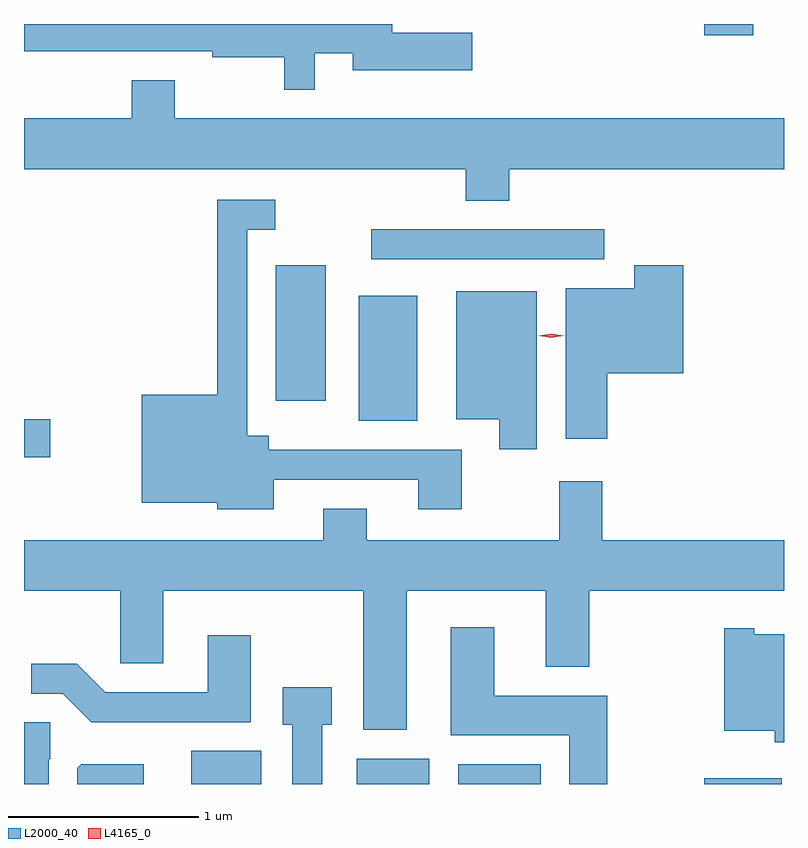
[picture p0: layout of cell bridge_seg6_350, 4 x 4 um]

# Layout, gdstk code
import gdstk
lib = gdstk.Library(unit=1e-6, precision=1e-09)
def R(c, l, rs):  # rectangles x0, y0, x1, y1
    for r in rs: c.add(gdstk.rectangle(r[:2], r[2:], *l))
def P(c, l, *ps):  # polygons
    for p in ps: c.add(gdstk.Polygon(p, *l))
L2000_40 = (2000, 40)
L4165_0 = (4165, 0)

bridge_seg6_350 = lib.new_cell('bridge_seg6_350')
R(bridge_seg6_350, L2000_40, [(1376.586,1562.34,1376.954,1562.514), (1377.456,1562.34,1377.839,1562.474), (1377.991,1562.34,1378.424,1562.444), (1379.286,1562.34,1379.694,1562.369), (1375.705,1564.061,1375.844,1564.259), (1377.466,1564.251,1377.774,1564.909), (1377.031,1564.356,1377.294,1565.069), (1377.533,1565.101,1378.758,1565.259), (1379.286,1566.281,1379.544,1566.34)])
P(bridge_seg6_350, L2000_40, [(1377.234,1566.186),(1377.436,1566.186),(1377.436,1566.096),(1378.064,1566.096),(1378.064,1566.294),(1377.644,1566.294),(1377.644,1566.34),(1375.705,1566.34),(1375.705,1566.196),(1376.696,1566.196),(1376.696,1566.166),(1377.076,1566.166),(1377.076,1565.993),(1377.234,1565.993)],
  [(1376.271,1566.044),(1376.271,1565.844),(1375.705,1565.844),(1375.705,1565.576),(1378.031,1565.576),(1378.031,1565.411),(1378.259,1565.411),(1378.259,1565.576),(1379.705,1565.576),(1379.705,1565.844),(1376.499,1565.844),(1376.499,1566.044)],
  [(1377.019,1563.941),(1377.781,1563.941),(1377.781,1563.786),(1378.009,1563.786),(1378.009,1564.099),(1376.994,1564.099),(1376.994,1564.174),(1376.879,1564.174),(1376.879,1565.256),(1377.028,1565.256),(1377.028,1565.414),(1376.721,1565.414),(1376.721,1564.389),(1376.326,1564.389),(1376.326,1563.821),(1376.721,1563.821),(1376.721,1563.786),(1377.019,1563.786)],
  [(1378.774,1564.501),(1379.174,1564.501),(1379.174,1565.069),(1378.916,1565.069),(1378.916,1564.949),(1378.556,1564.949),(1378.556,1564.156),(1378.774,1564.156)],
  [(1378.404,1564.934),(1377.981,1564.934),(1377.981,1564.261),(1378.206,1564.261),(1378.206,1564.101),(1378.404,1564.101)],
  [(1377.719,1563.356),(1378.451,1563.356),(1378.451,1562.956),(1378.679,1562.956),(1378.679,1563.356),(1379.705,1563.356),(1379.705,1563.624),(1378.749,1563.624),(1378.749,1563.934),(1378.521,1563.934),(1378.521,1563.624),(1377.509,1563.624),(1377.509,1563.789),(1377.281,1563.789),(1377.281,1563.624),(1375.705,1563.624),(1375.705,1563.356),(1376.211,1563.356),(1376.211,1562.976),(1376.439,1562.976),(1376.439,1563.356),(1377.491,1563.356),(1377.491,1562.626),(1377.719,1562.626)],
  [(1378.774,1562.804),(1378.179,1562.804),(1378.179,1563.164),(1377.951,1563.164),(1377.951,1562.596),(1378.576,1562.596),(1378.576,1562.34),(1378.774,1562.34)],
  [(1379.705,1563.129),(1379.549,1563.129),(1379.549,1563.159),(1379.391,1563.159),(1379.391,1562.621),(1379.656,1562.621),(1379.656,1562.561),(1379.705,1562.561)],
  [(1376.899,1563.124),(1376.671,1563.124),(1376.671,1562.824),(1376.132,1562.824),(1375.982,1562.974),(1375.743,1562.974),(1375.743,1562.816),(1375.909,1562.816),(1376.059,1562.666),(1376.899,1562.666)],
  [(1377.274,1562.651),(1377.324,1562.651),(1377.324,1562.849),(1377.066,1562.849),(1377.066,1562.651),(1377.116,1562.651),(1377.116,1562.34),(1377.274,1562.34)],
  [(1375.834,1562.47),(1375.844,1562.47),(1375.844,1562.664),(1375.705,1562.664),(1375.705,1562.34),(1375.834,1562.34)],
  [(1376.334,1562.444),(1376.007,1562.444),(1375.986,1562.424),(1375.986,1562.34),(1376.334,1562.34)])
P(bridge_seg6_350, L4165_0, [(1378.48,1564.689),(1378.414,1564.698),(1378.414,1564.699),(1378.414,1564.699),(1378.48,1564.709),(1378.546,1564.7),(1378.546,1564.699),(1378.546,1564.699)])

lib.write_gds('bridge_seg6_350.gds')
